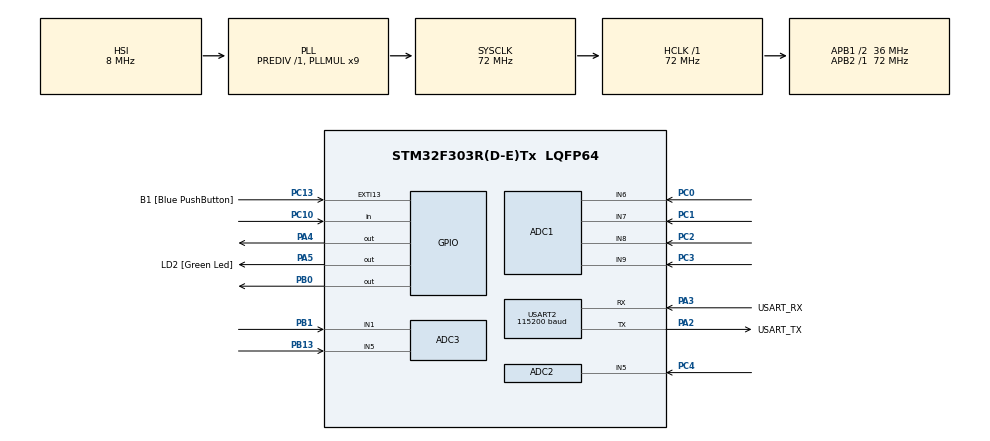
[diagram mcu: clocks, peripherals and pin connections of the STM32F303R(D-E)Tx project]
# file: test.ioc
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ADC1.Channel-1\#ChannelRegularConversion=ADC_CHANNEL_6
ADC1.Channel-2\#ChannelRegularConversion=ADC_CHANNEL_9
ADC1.Channel-3\#ChannelRegularConversion=ADC_CHANNEL_7
ADC1.Channel-4\#ChannelRegularConversion=ADC_CHANNEL_8
ADC1.ClockPrescaler=ADC_CLOCK_SYNC_PCLK_DIV1
ADC1.ContinuousConvMode=ENABLE
ADC1.EOCSelection=ADC_EOC_SINGLE_CONV
ADC1.NbrOfConversion=4
ADC1.NbrOfConversionFlag=1
ADC1.Offset-1\#ChannelRegularConversion=0
ADC1.Offset-2\#ChannelRegularConversion=0
ADC1.Offset-3\#ChannelRegularConversion=0
ADC1.Offset-4\#ChannelRegularConversion=0
ADC1.OffsetNumber-1\#ChannelRegularConversion=ADC_OFFSET_NONE
ADC1.OffsetNumber-2\#ChannelRegularConversion=ADC_OFFSET_NONE
ADC1.OffsetNumber-3\#ChannelRegularConversion=ADC_OFFSET_NONE
ADC1.OffsetNumber-4\#ChannelRegularConversion=ADC_OFFSET_NONE
ADC1.Rank-1\#ChannelRegularConversion=1
ADC1.Rank-2\#ChannelRegularConversion=2
ADC1.Rank-3\#ChannelRegularConversion=3
ADC1.Rank-4\#ChannelRegularConversion=4
ADC1.SamplingTime-1\#ChannelRegularConversion=ADC_SAMPLETIME_1CYCLE_5
ADC1.SamplingTime-2\#ChannelRegularConversion=ADC_SAMPLETIME_1CYCLE_5
ADC1.SamplingTime-3\#ChannelRegularConversion=ADC_SAMPLETIME_1CYCLE_5
ADC1.SamplingTime-4\#ChannelRegularConversion=ADC_SAMPLETIME_1CYCLE_5
ADC1.SamplingTimeOPAMP-3\#ChannelRegularConversion=ADC_SAMPLETIME_61CYCLES_5
ADC1.SamplingTimeOPAMP-4\#ChannelRegularConversion=ADC_SAMPLETIME_61CYCLES_5
ADC1.master=1
ADC2.Channel-2\#ChannelRegularConversion=ADC_CHANNEL_5
ADC2.ClockPrescaler=ADC_CLOCK_SYNC_PCLK_DIV1
ADC2.ContinuousConvMode=ENABLE
ADC2.NbrOfConversionFlag=1
ADC2.Offset-2\#ChannelRegularConversion=0
ADC2.OffsetNumber-2\#ChannelRegularConversion=ADC_OFFSET_NONE
ADC2.Rank-2\#ChannelRegularConversion=1
ADC2.SamplingTime-2\#ChannelRegularConversion=ADC_SAMPLETIME_1CYCLE_5
ADC2.SamplingTimeOPAMP-2\#ChannelRegularConversion=ADC_SAMPLETIME_61CYCLES_5
ADC3.Channel-0\#ChannelRegularConversion=ADC_CHANNEL_1
ADC3.Channel-1\#ChannelRegularConversion=ADC_CHANNEL_5
ADC3.ContinuousConvMode=ENABLE
ADC3.NbrOfConversion=2
ADC3.NbrOfConversionFlag=1
ADC3.Offset-0\#ChannelRegularConversion=0
ADC3.Offset-1\#ChannelRegularConversion=0
ADC3.OffsetNumber-0\#ChannelRegularConversion=ADC_OFFSET_NONE
ADC3.OffsetNumber-1\#ChannelRegularConversion=ADC_OFFSET_NONE
ADC3.Rank-0\#ChannelRegularConversion=1
ADC3.Rank-1\#ChannelRegularConversion=2
ADC3.SamplingTime-0\#ChannelRegularConversion=ADC_SAMPLETIME_1CYCLE_5
ADC3.SamplingTime-1\#ChannelRegularConversion=ADC_SAMPLETIME_1CYCLE_5
ADC3.SamplingTimeOPAMP-1\#ChannelRegularConversion=ADC_SAMPLETIME_61CYCLES_5
ADC3.master=1
Mcu.Family=STM32F3
Mcu.Name=STM32F303R(D-E)Tx
Mcu.Package=LQFP64
NVIC.PriorityGroup=NVIC_PRIORITYGROUP_0
PA13.GPIO_Label=TMS
PA13.Mode=Serial_Wire
PA13.Signal=SYS_JTMS-SWDIO
PA14.GPIO_Label=TCK
PA14.Mode=Serial_Wire
PA14.Signal=SYS_JTCK-SWCLK
PA2.GPIO_Label=USART_TX
PA2.GPIO_Mode=GPIO_MODE_AF_PP
PA2.GPIO_PuPd=GPIO_NOPULL
PA2.GPIO_Speed=GPIO_SPEED_FREQ_LOW
PA2.Mode=Asynchronous
PA2.Signal=USART2_TX
PA3.GPIO_Label=USART_RX
PA3.GPIO_Mode=GPIO_MODE_AF_PP
PA3.GPIO_PuPd=GPIO_NOPULL
PA3.GPIO_Speed=GPIO_SPEED_FREQ_LOW
PA3.Mode=Asynchronous
PA3.Signal=USART2_RX
PA4.Signal=GPIO_Output
PA5.GPIO_Label=LD2 [Green Led]
PA5.GPIO_Mode=GPIO_MODE_OUTPUT_PP
PA5.GPIO_PuPd=GPIO_NOPULL
PA5.GPIO_Speed=GPIO_SPEED_FREQ_LOW
PA5.Signal=GPIO_Output
PB0.Signal=GPIO_Output
PB1.Mode=IN1-Single-Ended
PB1.Signal=ADC3_IN1
PB13.Mode=IN5-Single-Ended
PB13.Signal=ADC3_IN5
PB3.GPIO_Label=SWO
PB3.Signal=SYS_JTDO-TRACESWO
PC0.Signal=ADCx_IN6
PC1.Signal=ADCx_IN7
PC10.Signal=GPIO_Input
PC13.GPIO_Label=B1 [Blue PushButton]
PC13.GPIO_ModeDefaultEXTI=GPIO_MODE_IT_FALLING
PC13.Signal=GPXTI13
PC14-OSC32_IN.Mode=LSE-External-Oscillator
PC14-OSC32_IN.Signal=RCC_OSC32_IN
PC15-OSC32_OUT.Mode=LSE-External-Oscillator
PC15-OSC32_OUT.Signal=RCC_OSC32_OUT
PC2.Signal=ADCx_IN8
PC3.Signal=ADCx_IN9
PC4.Mode=IN5-Single-Ended
PC4.Signal=ADC2_IN5
PF0-OSC_IN.Mode=HSE-External-Clock-Source
PF0-OSC_IN.Signal=RCC_OSC_IN
PF1-OSC_OUT.Signal=RCC_OSC_OUT
ProjectManager.HeapSize=0x200
ProjectManager.StackSize=0x400
ProjectManager.TargetToolchain=STM32CubeIDE
RCC.AHBFreq_Value=72000000
RCC.APB1CLKDivider=RCC_HCLK_DIV2
RCC.APB1Freq_Value=36000000
RCC.APB1TimFreq_Value=72000000
RCC.APB2Freq_Value=72000000
RCC.APB2TimFreq_Value=72000000
RCC.CortexFreq_Value=72000000
RCC.HCLKFreq_Value=72000000
RCC.HSE_VALUE=8000000
RCC.HSI_VALUE=8000000
RCC.PLLM=8
RCC.PLLMUL=RCC_PLL_MUL9
RCC.PLLN=336
RCC.PLLP=RCC_PLLP_DIV4
RCC.PLLQ=7
RCC.RCC_PLLsource_Clock_Source_FROM_HSE=RCC_HSE_PREDIV_DIV2
RCC.SYSCLKFreq_VALUE=72000000
RCC.SYSCLKSourceVirtual=RCC_SYSCLKSOURCE_PLLCLK
RCC.USBFreq_Value=72000000
SH.ADCx_IN6.0=ADC1_IN6,IN6-Single-Ended
SH.ADCx_IN7.0=ADC1_IN7,IN7-Single-Ended
SH.ADCx_IN8.0=ADC1_IN8,IN8-Single-Ended
SH.ADCx_IN9.0=ADC1_IN9,IN9-Single-Ended
USART2.BaudRate=115200
USART2.VirtualMode-Asynchronous=VM_ASYNC
board=NUCLEO-F303RE

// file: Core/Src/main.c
/* USER CODE BEGIN Header */
/**
  ******************************************************************************
  * @file           : main.c
  * @brief          : Main program body
  ******************************************************************************
  * @attention
  *
  * Copyright (c) 2025 STMicroelectronics.
  * All rights reserved.
  *
  * This software is licensed under terms that can be found in the LICENSE file
  * in the root directory of this software component.
  * If no LICENSE file comes with this software, it is provided AS-IS.
  *
  ******************************************************************************
  */
/* USER CODE END Header */
#include "main.h"

/* USER CODE BEGIN Includes */
#include <string.h>
#include <stdbool.h>
#include <stdint.h>
#include <stdio.h>
/* USER CODE END Includes */

ADC_HandleTypeDef hadc1;
ADC_HandleTypeDef hadc2;
ADC_HandleTypeDef hadc3;

UART_HandleTypeDef huart2;

void SystemClock_Config(void);
static void MX_GPIO_Init(void);
static void MX_USART2_UART_Init(void);
static void MX_ADC1_Init(void);
static void MX_ADC2_Init(void);
static void MX_ADC3_Init(void);
/* USER CODE BEGIN PFP */
uint16_t check_efuse_volt(void);
uint16_t check_buck_volt(void);
uint16_t check_buck_current(void);
uint16_t check_lsc_volt(void);
void check_gpio_and_reset(void);
void send_msg(char *msg);
void initalization (void);
/* USER CODE END PFP */

/* USER CODE BEGIN 0 */
uint16_t adc_val[4];
uint16_t csc_out;
uint16_t pgood;
uint16_t ovp;
/* USER CODE END 0 */

int main(void)
{

  /* MCU Configuration--------------------------------------------------------*/

  /* Reset of all peripherals, Initializes the Flash interface and the Systick. */
  HAL_Init();

  /* Configure the system clock */
  SystemClock_Config();

  /* Initialize all configured peripherals */
  MX_GPIO_Init();
  MX_USART2_UART_Init();
  MX_ADC1_Init();
  MX_ADC2_Init();
  MX_ADC3_Init();
  /* USER CODE BEGIN 2 */
  initalization();
  /* USER CODE END 2 */

  /* Infinite loop */
  while (1)
  {

    /* USER CODE BEGIN 3 */
	HAL_ADC_Start(&hadc2);
	HAL_ADC_Start(&hadc3);
	HAL_ADC_PollForConversion(&hadc2, HAL_MAX_DELAY);
	csc_out = HAL_ADC_GetValue(&hadc2);
	HAL_ADC_PollForConversion(&hadc3, HAL_MAX_DELAY);
	pgood = HAL_ADC_GetValue(&hadc3);
	HAL_Delay(100);
	HAL_ADC_PollForConversion(&hadc3, HAL_MAX_DELAY);
	ovp = HAL_ADC_GetValue(&hadc3);
	HAL_Delay(100);
	if(pgood > 2000 && ovp > 2000)
		HAL_GPIO_TogglePin(LD2_GPIO_Port, LD2_Pin);
	else {
		HAL_GPIO_WritePin(GPIOB, GPIO_PIN_0, GPIO_PIN_RESET);
		HAL_GPIO_WritePin(GPIOA, GPIO_PIN_4, GPIO_PIN_RESET);
		send_msg("pggod or ovp is not ok \r\n");
		check_gpio_and_reset();
	}
	HAL_ADC_Stop(&hadc2);
	HAL_ADC_Stop(&hadc3);
	HAL_Delay(100);

  }
  /* USER CODE END 3 */
}

void SystemClock_Config(void)
{
  RCC_OscInitTypeDef RCC_OscInitStruct = {0};
  RCC_ClkInitTypeDef RCC_ClkInitStruct = {0};
  RCC_PeriphCLKInitTypeDef PeriphClkInit = {0};

  /** Initializes the RCC Oscillators according to the specified parameters
  * in the RCC_OscInitTypeDef structure.
  */
  RCC_OscInitStruct.OscillatorType = RCC_OSCILLATORTYPE_HSI;
  RCC_OscInitStruct.HSIState = RCC_HSI_ON;
  RCC_OscInitStruct.HSICalibrationValue = RCC_HSICALIBRATION_DEFAULT;
  RCC_OscInitStruct.PLL.PLLState = RCC_PLL_ON;
  RCC_OscInitStruct.PLL.PLLSource = RCC_PLLSOURCE_HSI;
  RCC_OscInitStruct.PLL.PLLMUL = RCC_PLL_MUL9;
  RCC_OscInitStruct.PLL.PREDIV = RCC_PREDIV_DIV1;
  if (HAL_RCC_OscConfig(&RCC_OscInitStruct) != HAL_OK)
  {
    Error_Handler();
  }

  /** Initializes the CPU, AHB and APB buses clocks
  */
  RCC_ClkInitStruct.ClockType = RCC_CLOCKTYPE_HCLK|RCC_CLOCKTYPE_SYSCLK
                              |RCC_CLOCKTYPE_PCLK1|RCC_CLOCKTYPE_PCLK2;
  RCC_ClkInitStruct.SYSCLKSource = RCC_SYSCLKSOURCE_PLLCLK;
  RCC_ClkInitStruct.AHBCLKDivider = RCC_SYSCLK_DIV1;
  RCC_ClkInitStruct.APB1CLKDivider = RCC_HCLK_DIV2;
  RCC_ClkInitStruct.APB2CLKDivider = RCC_HCLK_DIV1;

  if (HAL_RCC_ClockConfig(&RCC_ClkInitStruct, FLASH_LATENCY_2) != HAL_OK)
  {
    Error_Handler();
  }
  PeriphClkInit.PeriphClockSelection = RCC_PERIPHCLK_USART2|RCC_PERIPHCLK_ADC34;
  PeriphClkInit.Usart2ClockSelection = RCC_USART2CLKSOURCE_PCLK1;
  PeriphClkInit.Adc34ClockSelection = RCC_ADC34PLLCLK_DIV1;
  if (HAL_RCCEx_PeriphCLKConfig(&PeriphClkInit) != HAL_OK)
  {
    Error_Handler();
  }
}

static void MX_ADC1_Init(void)
{

  ADC_MultiModeTypeDef multimode = {0};
  ADC_ChannelConfTypeDef sConfig = {0};

  /** Common config
  */
  hadc1.Instance = ADC1;
  hadc1.Init.ClockPrescaler = ADC_CLOCK_SYNC_PCLK_DIV1;
  hadc1.Init.Resolution = ADC_RESOLUTION_12B;
  hadc1.Init.ScanConvMode = ADC_SCAN_ENABLE;
  hadc1.Init.ContinuousConvMode = ENABLE;
  hadc1.Init.DiscontinuousConvMode = DISABLE;
  hadc1.Init.ExternalTrigConvEdge = ADC_EXTERNALTRIGCONVEDGE_NONE;
  hadc1.Init.ExternalTrigConv = ADC_SOFTWARE_START;
  hadc1.Init.DataAlign = ADC_DATAALIGN_RIGHT;
  hadc1.Init.NbrOfConversion = 4;
  hadc1.Init.DMAContinuousRequests = DISABLE;
  hadc1.Init.EOCSelection = ADC_EOC_SINGLE_CONV;
  hadc1.Init.LowPowerAutoWait = DISABLE;
  hadc1.Init.Overrun = ADC_OVR_DATA_OVERWRITTEN;
  if (HAL_ADC_Init(&hadc1) != HAL_OK)
  {
    Error_Handler();
  }

  /** Configure the ADC multi-mode
  */
  multimode.Mode = ADC_MODE_INDEPENDENT;
  if (HAL_ADCEx_MultiModeConfigChannel(&hadc1, &multimode) != HAL_OK)
  {
    Error_Handler();
  }

  /** Configure Regular Channel
  */
  sConfig.Channel = ADC_CHANNEL_6;
  sConfig.Rank = ADC_REGULAR_RANK_1;
  sConfig.SingleDiff = ADC_SINGLE_ENDED;
  sConfig.SamplingTime = ADC_SAMPLETIME_1CYCLE_5;
  sConfig.OffsetNumber = ADC_OFFSET_NONE;
  sConfig.Offset = 0;
  if (HAL_ADC_ConfigChannel(&hadc1, &sConfig) != HAL_OK)
  {
    Error_Handler();
  }

  /** Configure Regular Channel
  */
  sConfig.Channel = ADC_CHANNEL_9;
  sConfig.Rank = ADC_REGULAR_RANK_2;
  if (HAL_ADC_ConfigChannel(&hadc1, &sConfig) != HAL_OK)
  {
    Error_Handler();
  }

  /** Configure Regular Channel
  */
  sConfig.Channel = ADC_CHANNEL_7;
  sConfig.Rank = ADC_REGULAR_RANK_3;
  if (HAL_ADC_ConfigChannel(&hadc1, &sConfig) != HAL_OK)
  {
    Error_Handler();
  }

  /** Configure Regular Channel
  */
  sConfig.Channel = ADC_CHANNEL_8;
  sConfig.Rank = ADC_REGULAR_RANK_4;
  if (HAL_ADC_ConfigChannel(&hadc1, &sConfig) != HAL_OK)
  {
    Error_Handler();
  }

}

static void MX_ADC2_Init(void)
{

  ADC_ChannelConfTypeDef sConfig = {0};

  /** Common config
  */
  hadc2.Instance = ADC2;
  hadc2.Init.ClockPrescaler = ADC_CLOCK_SYNC_PCLK_DIV1;
  hadc2.Init.Resolution = ADC_RESOLUTION_12B;
  hadc2.Init.ScanConvMode = ADC_SCAN_DISABLE;
  hadc2.Init.ContinuousConvMode = ENABLE;
  hadc2.Init.DiscontinuousConvMode = DISABLE;
  hadc2.Init.ExternalTrigConvEdge = ADC_EXTERNALTRIGCONVEDGE_NONE;
  hadc2.Init.ExternalTrigConv = ADC_SOFTWARE_START;
  hadc2.Init.DataAlign = ADC_DATAALIGN_RIGHT;
  hadc2.Init.NbrOfConversion = 1;
  hadc2.Init.DMAContinuousRequests = DISABLE;
  hadc2.Init.EOCSelection = ADC_EOC_SINGLE_CONV;
  hadc2.Init.LowPowerAutoWait = DISABLE;
  hadc2.Init.Overrun = ADC_OVR_DATA_OVERWRITTEN;
  if (HAL_ADC_Init(&hadc2) != HAL_OK)
  {
    Error_Handler();
  }

  /** Configure Regular Channel
  */
  sConfig.Channel = ADC_CHANNEL_5;
  sConfig.Rank = ADC_REGULAR_RANK_1;
  sConfig.SingleDiff = ADC_SINGLE_ENDED;
  sConfig.SamplingTime = ADC_SAMPLETIME_1CYCLE_5;
  sConfig.OffsetNumber = ADC_OFFSET_NONE;
  sConfig.Offset = 0;
  if (HAL_ADC_ConfigChannel(&hadc2, &sConfig) != HAL_OK)
  {
    Error_Handler();
  }

}

static void MX_ADC3_Init(void)
{

  ADC_MultiModeTypeDef multimode = {0};
  ADC_ChannelConfTypeDef sConfig = {0};

  /** Common config
  */
  hadc3.Instance = ADC3;
  hadc3.Init.ClockPrescaler = ADC_CLOCK_ASYNC_DIV1;
  hadc3.Init.Resolution = ADC_RESOLUTION_12B;
  hadc3.Init.ScanConvMode = ADC_SCAN_ENABLE;
  hadc3.Init.ContinuousConvMode = ENABLE;
  hadc3.Init.DiscontinuousConvMode = DISABLE;
  hadc3.Init.ExternalTrigConvEdge = ADC_EXTERNALTRIGCONVEDGE_NONE;
  hadc3.Init.ExternalTrigConv = ADC_SOFTWARE_START;
  hadc3.Init.DataAlign = ADC_DATAALIGN_RIGHT;
  hadc3.Init.NbrOfConversion = 2;
  hadc3.Init.DMAContinuousRequests = DISABLE;
  hadc3.Init.EOCSelection = ADC_EOC_SINGLE_CONV;
  hadc3.Init.LowPowerAutoWait = DISABLE;
  hadc3.Init.Overrun = ADC_OVR_DATA_OVERWRITTEN;
  if (HAL_ADC_Init(&hadc3) != HAL_OK)
  {
    Error_Handler();
  }

  /** Configure the ADC multi-mode
  */
  multimode.Mode = ADC_MODE_INDEPENDENT;
  if (HAL_ADCEx_MultiModeConfigChannel(&hadc3, &multimode) != HAL_OK)
  {
    Error_Handler();
  }

  /** Configure Regular Channel
  */
  sConfig.Channel = ADC_CHANNEL_1;
  sConfig.Rank = ADC_REGULAR_RANK_1;
  sConfig.SingleDiff = ADC_SINGLE_ENDED;
  sConfig.SamplingTime = ADC_SAMPLETIME_1CYCLE_5;
  sConfig.OffsetNumber = ADC_OFFSET_NONE;
  sConfig.Offset = 0;
  if (HAL_ADC_ConfigChannel(&hadc3, &sConfig) != HAL_OK)
  {
    Error_Handler();
  }

  /** Configure Regular Channel
  */
  sConfig.Channel = ADC_CHANNEL_5;
  sConfig.Rank = ADC_REGULAR_RANK_2;
  if (HAL_ADC_ConfigChannel(&hadc3, &sConfig) != HAL_OK)
  {
    Error_Handler();
  }

}

static void MX_USART2_UART_Init(void)
{

  huart2.Instance = USART2;
  huart2.Init.BaudRate = 115200;
  huart2.Init.WordLength = UART_WORDLENGTH_8B;
  huart2.Init.StopBits = UART_STOPBITS_1;
  huart2.Init.Parity = UART_PARITY_NONE;
  huart2.Init.Mode = UART_MODE_TX_RX;
  huart2.Init.HwFlowCtl = UART_HWCONTROL_NONE;
  huart2.Init.OverSampling = UART_OVERSAMPLING_16;
  huart2.Init.OneBitSampling = UART_ONE_BIT_SAMPLE_DISABLE;
  huart2.AdvancedInit.AdvFeatureInit = UART_ADVFEATURE_NO_INIT;
  if (HAL_UART_Init(&huart2) != HAL_OK)
  {
    Error_Handler();
  }

}

static void MX_GPIO_Init(void)
{
  GPIO_InitTypeDef GPIO_InitStruct = {0};

  /* GPIO Ports Clock Enable */
  __HAL_RCC_GPIOC_CLK_ENABLE();
  __HAL_RCC_GPIOF_CLK_ENABLE();
  __HAL_RCC_GPIOA_CLK_ENABLE();
  __HAL_RCC_GPIOB_CLK_ENABLE();

  /*Configure GPIO pin Output Level */
  HAL_GPIO_WritePin(GPIOA, GPIO_PIN_4|LD2_Pin, GPIO_PIN_RESET);

  /*Configure GPIO pin Output Level */
  HAL_GPIO_WritePin(GPIOB, GPIO_PIN_0, GPIO_PIN_RESET);

  /*Configure GPIO pin : B1_Pin */
  GPIO_InitStruct.Pin = B1_Pin;
  GPIO_InitStruct.Mode = GPIO_MODE_IT_FALLING;
  GPIO_InitStruct.Pull = GPIO_NOPULL;
  HAL_GPIO_Init(B1_GPIO_Port, &GPIO_InitStruct);

  /*Configure GPIO pins : PA4 LD2_Pin */
  GPIO_InitStruct.Pin = GPIO_PIN_4|LD2_Pin;
  GPIO_InitStruct.Mode = GPIO_MODE_OUTPUT_PP;
  GPIO_InitStruct.Pull = GPIO_NOPULL;
  GPIO_InitStruct.Speed = GPIO_SPEED_FREQ_LOW;
  HAL_GPIO_Init(GPIOA, &GPIO_InitStruct);

  /*Configure GPIO pin : PB0 */
  GPIO_InitStruct.Pin = GPIO_PIN_0;
  GPIO_InitStruct.Mode = GPIO_MODE_OUTPUT_PP;
  GPIO_InitStruct.Pull = GPIO_NOPULL;
  GPIO_InitStruct.Speed = GPIO_SPEED_FREQ_LOW;
  HAL_GPIO_Init(GPIOB, &GPIO_InitStruct);

  /*Configure GPIO pin : PC10 */
  GPIO_InitStruct.Pin = GPIO_PIN_10;
  GPIO_InitStruct.Mode = GPIO_MODE_INPUT;
  GPIO_InitStruct.Pull = GPIO_NOPULL;
  HAL_GPIO_Init(GPIOC, &GPIO_InitStruct);

}

/* USER CODE BEGIN 4 */
uint16_t check_efuse_volt(void){
	HAL_ADC_PollForConversion(&hadc1, 5000);
	adc_val[0] = HAL_ADC_GetValue(&hadc1);
	char uart_buff[20];  // Buffer for formatted string
	int buff_length = snprintf(uart_buff, sizeof(uart_buff), "/*%d*/\r\n", adc_val[0]);
	HAL_UART_Transmit(&huart2, (uint8_t*)uart_buff, buff_length, HAL_MAX_DELAY);
	HAL_Delay(10);
	return adc_val[0];
}

uint16_t check_buck_volt(void){
	HAL_ADC_PollForConversion(&hadc1, 5000);
	adc_val[1] = HAL_ADC_GetValue(&hadc1);
	char uart_buff[20];  // Buffer for formatted string
	int buff_length = snprintf(uart_buff, sizeof(uart_buff), "/*%d*/\r\n", adc_val[1]);
	HAL_UART_Transmit(&huart2, (uint8_t*)uart_buff, buff_length, HAL_MAX_DELAY);
	HAL_Delay(10);
	return adc_val[1];
}

uint16_t check_buck_current(void){
	HAL_ADC_PollForConversion(&hadc1, 5000);
	adc_val[2] = HAL_ADC_GetValue(&hadc1);
	char uart_buff[20];  // Buffer for formatted string
	int buff_length = snprintf(uart_buff, sizeof(uart_buff), "/*%d*/\r\n", adc_val[2]);
	HAL_UART_Transmit(&huart2, (uint8_t*)uart_buff, buff_length, HAL_MAX_DELAY);
	HAL_Delay(10);
	return adc_val[2];
}

uint16_t check_lsc_volt(void){
	HAL_ADC_PollForConversion(&hadc1, 5000);
	adc_val[3] = HAL_ADC_GetValue(&hadc1);
	char uart_buff[20];  // Buffer for formatted string
	int buff_length = snprintf(uart_buff, sizeof(uart_buff), "/*%d*/\r\n", adc_val[3]);
	HAL_UART_Transmit(&huart2, (uint8_t*)uart_buff, buff_length, HAL_MAX_DELAY);
	HAL_Delay(10);
	return adc_val[3];
}

void check_gpio_and_reset(void) {
    uint32_t start_time;
send_msg("wait for button press !!! \r\n");
    while (1) {
        // Check if output pin is LOW and input pin is HIGH
        if (HAL_GPIO_ReadPin(GPIOC, GPIO_PIN_10) == GPIO_PIN_SET) {

            start_time = HAL_GetTick();  // Start timer

            // Wait for 200ms while input pin remains HIGH
            while (HAL_GPIO_ReadPin(GPIOC, GPIO_PIN_10) == GPIO_PIN_SET) {
                if (HAL_GetTick() - start_time >= 200) {
                	initalization();
                    return;  // Exit function
                }
            }
        }
    }
}

void initalization (void){
	send_msg("Initialization Start !!! \r\n");
	HAL_ADC_Start(&hadc1);
	HAL_Delay(100);
	send_msg("Set Efuse Enable Pin \r\n ");
	HAL_GPIO_WritePin(GPIOB, GPIO_PIN_0, GPIO_PIN_SET);
	HAL_Delay(100);
	check_efuse_volt();
	HAL_Delay(100);
	if(adc_val[0] < 2000){
		HAL_GPIO_WritePin(GPIOB, GPIO_PIN_0, GPIO_PIN_RESET);
		send_msg("Efuse voltage is not OK. \r\n");
		return check_gpio_and_reset();
	}
	else send_msg("Efuse voltage is OK. \r\n");
	HAL_Delay(100);
	send_msg("Set Buck Enable Pin \r\n ");
	HAL_GPIO_WritePin(GPIOA, GPIO_PIN_4, GPIO_PIN_SET);
	HAL_Delay(100);
	check_buck_volt();
	HAL_Delay(100);
	if(adc_val[1] < 2000){
		HAL_GPIO_WritePin(GPIOA, GPIO_PIN_4, GPIO_PIN_RESET);
		send_msg("Buck voltage is not OK. \r\n");
		return check_gpio_and_reset();
	}
	else send_msg("Buck voltage is OK. \r\n");
	check_buck_current();
	HAL_Delay(100);
	if(adc_val[2] < 1000){
		HAL_GPIO_WritePin(GPIOB, GPIO_PIN_0, GPIO_PIN_RESET);
		HAL_GPIO_WritePin(GPIOA, GPIO_PIN_4, GPIO_PIN_RESET);
		send_msg("Buck current is not OK. \r\n");
		return check_gpio_and_reset();
	}
	else send_msg("Buck current is OK. \r\n");
	check_lsc_volt();
	HAL_Delay(100);
	if(adc_val[3] < 2000){
		HAL_GPIO_WritePin(GPIOB, GPIO_PIN_0, GPIO_PIN_RESET);
		HAL_GPIO_WritePin(GPIOA, GPIO_PIN_4, GPIO_PIN_RESET);
		send_msg("lsc volt is not OK. \r\n");
		return check_gpio_and_reset();
	}
	else send_msg("lsc volt is OK. \r\n");
	HAL_ADC_Stop(&hadc1);

}

void send_msg(char *msg){
	HAL_UART_Transmit(&huart2, (uint8_t *)msg, strlen(msg), HAL_MAX_DELAY);
}
/* USER CODE END 4 */

void Error_Handler(void)
{
  __disable_irq();
  while (1)
  {
  }
}
